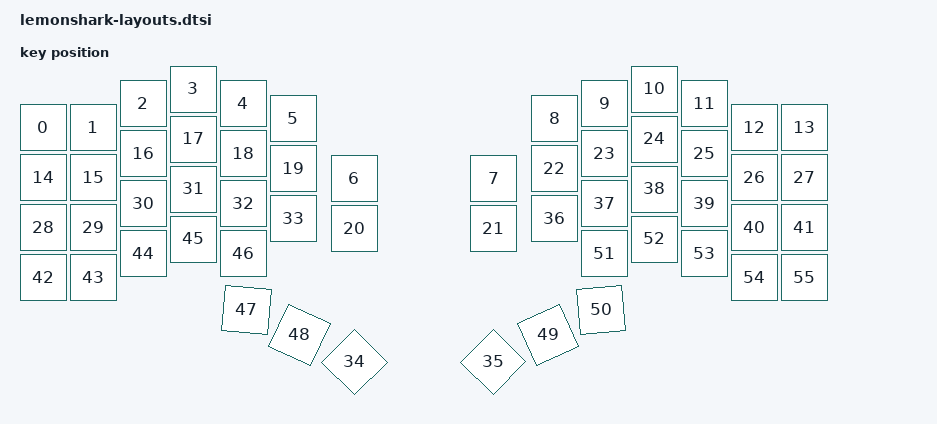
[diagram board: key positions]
#include <physical_layouts.dtsi>

/ {
    physical_layout_lemonshark: physical_layout_lemonshark {
        compatible = "zmk,physical-layout";
        display-name = "lemonshark";
        keys  //                     w   h    x    y     rot    rx    ry
            = <&key_physical_attrs 100 100    0   77       0     0     0>
            , <&key_physical_attrs 100 100  100   77       0     0     0>
            , <&key_physical_attrs 100 100  200   29       0     0     0>
            , <&key_physical_attrs 100 100  300    0       0     0     0>
            , <&key_physical_attrs 100 100  400   29       0     0     0>
            , <&key_physical_attrs 100 100  500   59       0     0     0>
            , <&key_physical_attrs 100 100  622  179       0     0     0>
            , <&key_physical_attrs 100 100  901  179       0     0     0>
            , <&key_physical_attrs 100 100 1023   59       0     0     0>
            , <&key_physical_attrs 100 100 1123   29       0     0     0>
            , <&key_physical_attrs 100 100 1223    0       0     0     0>
            , <&key_physical_attrs 100 100 1323   29       0     0     0>
            , <&key_physical_attrs 100 100 1423   77       0     0     0>
            , <&key_physical_attrs 100 100 1523   77       0     0     0>
            , <&key_physical_attrs 100 100    0  177       0     0     0>
            , <&key_physical_attrs 100 100  100  177       0     0     0>
            , <&key_physical_attrs 100 100  200  129       0     0     0>
            , <&key_physical_attrs 100 100  300  100       0     0     0>
            , <&key_physical_attrs 100 100  400  129       0     0     0>
            , <&key_physical_attrs 100 100  500  159       0     0     0>
            , <&key_physical_attrs 100 100  622  279       0     0     0>
            , <&key_physical_attrs 100 100  901  279       0     0     0>
            , <&key_physical_attrs 100 100 1023  159       0     0     0>
            , <&key_physical_attrs 100 100 1123  129       0     0     0>
            , <&key_physical_attrs 100 100 1223  100       0     0     0>
            , <&key_physical_attrs 100 100 1323  129       0     0     0>
            , <&key_physical_attrs 100 100 1423  177       0     0     0>
            , <&key_physical_attrs 100 100 1523  177       0     0     0>
            , <&key_physical_attrs 100 100    0  277       0     0     0>
            , <&key_physical_attrs 100 100  100  277       0     0     0>
            , <&key_physical_attrs 100 100  200  229       0     0     0>
            , <&key_physical_attrs 100 100  300  200       0     0     0>
            , <&key_physical_attrs 100 100  400  229       0     0     0>
            , <&key_physical_attrs 100 100  500  259       0     0     0>
            , <&key_physical_attrs 100 100  623  546    4500   673   596>
            , <&key_physical_attrs 100 100  900  546 (-4500)   950   596>
            , <&key_physical_attrs 100 100 1023  259       0     0     0>
            , <&key_physical_attrs 100 100 1123  229       0     0     0>
            , <&key_physical_attrs 100 100 1223  200       0     0     0>
            , <&key_physical_attrs 100 100 1323  229       0     0     0>
            , <&key_physical_attrs 100 100 1423  277       0     0     0>
            , <&key_physical_attrs 100 100 1523  277       0     0     0>
            , <&key_physical_attrs 100 100    0  377       0     0     0>
            , <&key_physical_attrs 100 100  100  377       0     0     0>
            , <&key_physical_attrs 100 100  200  329       0     0     0>
            , <&key_physical_attrs 100 100  300  300       0     0     0>
            , <&key_physical_attrs 100 100  400  329       0     0     0>
            , <&key_physical_attrs 100 100  407  442     500   457   492>
            , <&key_physical_attrs 100 100  513  492    2500   563   542>
            , <&key_physical_attrs 100 100 1010  492 (-2500)  1060   542>
            , <&key_physical_attrs 100 100 1116  442  (-500)  1166   492>
            , <&key_physical_attrs 100 100 1123  329       0     0     0>
            , <&key_physical_attrs 100 100 1223  300       0     0     0>
            , <&key_physical_attrs 100 100 1323  329       0     0     0>
            , <&key_physical_attrs 100 100 1423  377       0     0     0>
            , <&key_physical_attrs 100 100 1523  377       0     0     0>
            ;
    };
};
